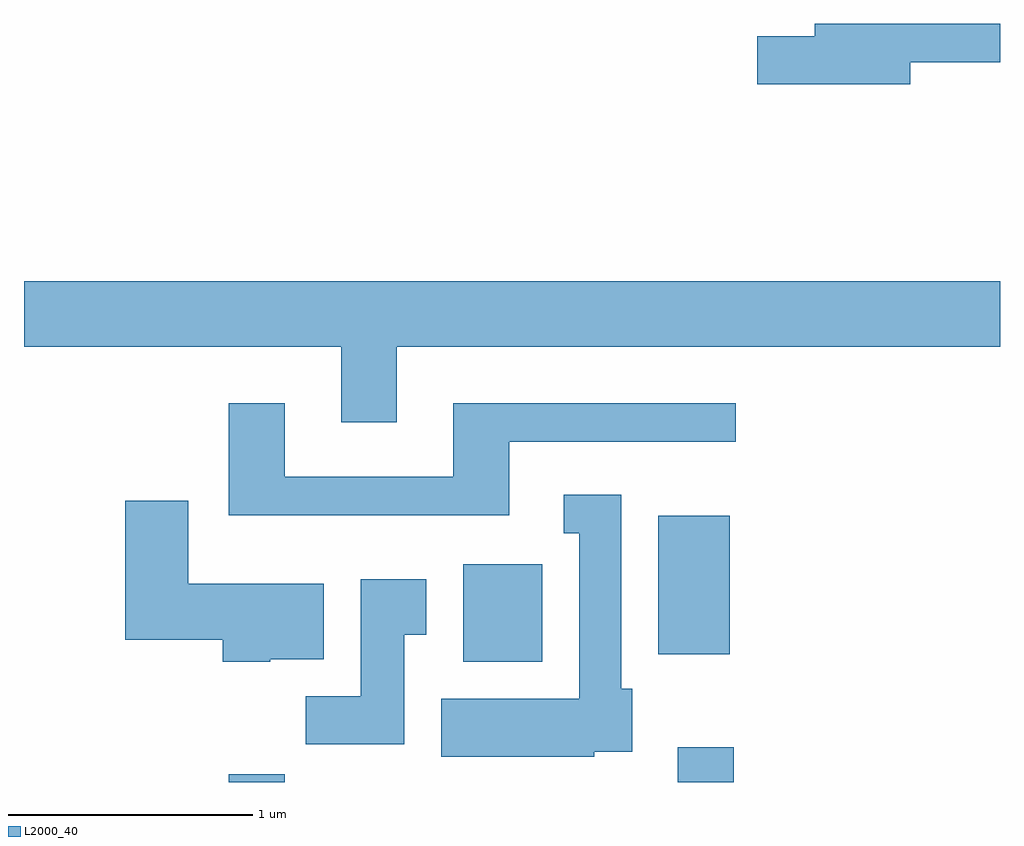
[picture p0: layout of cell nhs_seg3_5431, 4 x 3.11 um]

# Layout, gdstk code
import gdstk
lib = gdstk.Library(unit=1e-6, precision=1e-09)
def R(c, l, rs):  # rectangles x0, y0, x1, y1
    for r in rs: c.add(gdstk.rectangle(r[:2], r[2:], *l))
def P(c, l, *ps):  # polygons
    for p in ps: c.add(gdstk.Polygon(p, *l))
L2000_40 = (2000, 40)

nhs_seg3_5431 = lib.new_cell('nhs_seg3_5431')
R(nhs_seg3_5431, L2000_40, [(344.451,1241.892,344.679,1241.924), (346.291,1241.892,346.519,1242.034), (345.411,1242.386,345.734,1242.784), (346.211,1242.416,346.504,1242.984)])
P(nhs_seg3_5431, L2000_40, [(347.244,1244.841),(347.611,1244.841),(347.611,1244.999),(346.851,1244.999),(346.851,1244.949),(346.616,1244.949),(346.616,1244.751),(347.244,1244.751)],
  [(345.139,1243.676),(347.611,1243.676),(347.611,1243.944),(343.611,1243.944),(343.611,1243.676),(344.911,1243.676),(344.911,1243.366),(345.139,1243.366)],
  [(345.599,1243.286),(346.528,1243.286),(346.528,1243.444),(345.371,1243.444),(345.371,1243.144),(344.679,1243.144),(344.679,1243.444),(344.451,1243.444),(344.451,1242.986),(345.599,1242.986)],
  [(345.949,1242.016),(346.104,1242.016),(346.104,1242.274),(346.059,1242.274),(346.059,1243.069),(345.823,1243.069),(345.823,1242.911),(345.886,1242.911),(345.886,1242.234),(345.321,1242.234),(345.321,1241.996),(345.949,1241.996)],
  [(344.62,1242.396),(344.839,1242.396),(344.839,1242.704),(344.284,1242.704),(344.284,1243.044),(344.026,1243.044),(344.026,1242.476),(344.426,1242.476),(344.426,1242.386),(344.62,1242.386)],
  [(345.169,1242.496),(345.259,1242.496),(345.259,1242.724),(344.991,1242.724),(344.991,1242.244),(344.766,1242.244),(344.766,1242.046),(345.169,1242.046)])

lib.write_gds('nhs_seg3_5431.gds')
